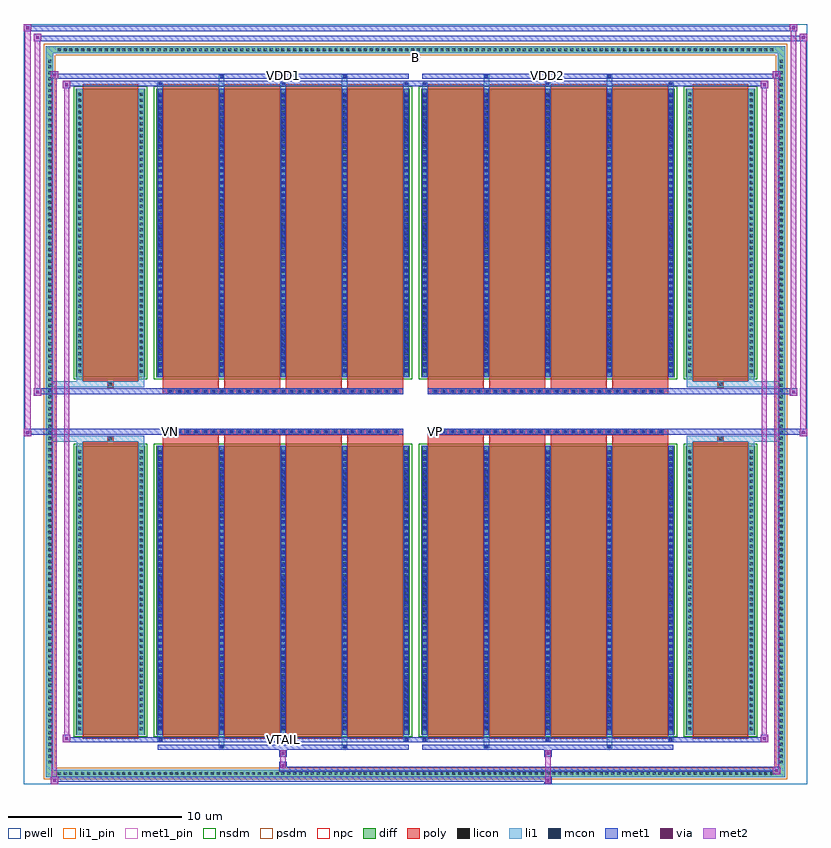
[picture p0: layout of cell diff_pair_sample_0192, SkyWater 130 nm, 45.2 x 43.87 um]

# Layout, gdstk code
import gdstk
lib = gdstk.Library(unit=1e-6, precision=5e-09)
def R(c, l, rs):  # rectangles x0, y0, x1, y1
    for r in rs: c.add(gdstk.rectangle(r[:2], r[2:], *l))
def A(c, l, x, y, w, h, nx, ny, dx, dy):  # array of equal rectangles
    R(c, l, [(x+i*dx, y+j*dy, x+i*dx+w, y+j*dy+h) for i in range(nx) for j in range(ny)])
def P(c, l, *ps):  # polygons
    for p in ps: c.add(gdstk.Polygon(p, *l))
pwell = (64, 44)
diff = (65, 20)
poly = (66, 20)
licon = (66, 44)
li1_pin = (67, 16)
li1 = (67, 20)
mcon = (67, 44)
met1_pin = (68, 16)
met1 = (68, 20)
via = (68, 44)
met2 = (69, 20)
nsdm = (93, 44)
psdm = (94, 20)
npc = (95, 20)

diff_pair_sample_0192 = lib.new_cell('diff_pair_sample_0192')
R(diff_pair_sample_0192, pwell, [(-22.6,-21.5,22.6,22.37), (-19.92,-19.69,-0.01,-0.805), (0.01,-19.69,19.92,-0.805), (-19.92,0.805,-0.01,19.69), (0.01,0.805,19.92,19.69)])
A(diff_pair_sample_0192, diff, -20.775, -21.1, 0.41, 0.41, 122, 2, 0.34, 41.79)
A(diff_pair_sample_0192, diff, -21.33, -20.435, 0.41, 0.41, 1, 120, 0, 0.34)
A(diff_pair_sample_0192, diff, 20.92, -20.435, 0.41, 0.41, 1, 120, 0, 0.34)
R(diff_pair_sample_0192, diff, [(-20.775,-21.1,20.775,-20.69), (-21.33,-20.435,-20.92,20.435), (20.92,-20.435,21.33,20.435), (-19.61,-18.645,-15.61,-1.985), (-14.97,-18.645,-0.32,-1.985), (0.32,-18.645,14.97,-1.985), (15.61,-18.645,19.61,-1.985), (-19.61,1.985,-15.61,18.645), (-14.97,1.985,-0.32,18.645), (0.32,1.985,14.97,18.645), (15.61,1.985,19.61,18.645), (-20.775,20.69,20.775,21.1)])
P(diff_pair_sample_0192, diff, [(21.33,21.1),(-21.33,21.1),(-21.33,-20.69),(-20.92,-20.69),(-20.92,20.69),(20.92,20.69),(20.92,-20.69),(-20.92,-20.69),(-21.33,-20.69),(-21.33,-21.1),(21.33,-21.1)])
A(diff_pair_sample_0192, poly, -14.58, -18.895, 3.22, 17.16, 4, 2, 3.55, 20.63)
A(diff_pair_sample_0192, poly, 0.71, -18.895, 3.22, 17.16, 4, 2, 3.55, 20.63)
A(diff_pair_sample_0192, poly, -14.58, -1.735, 3.22, 0.4, 4, 2, 3.55, 3.07)
A(diff_pair_sample_0192, poly, 0.71, -1.735, 3.22, 0.4, 4, 2, 3.55, 3.07)
A(diff_pair_sample_0192, poly, -14.31, -1.335, 0.33, 0.33, 27, 2, 0.5, 2.34)
A(diff_pair_sample_0192, poly, 0.98, -1.335, 0.33, 0.33, 27, 2, 0.5, 2.34)
R(diff_pair_sample_0192, poly, [(-19.22,-18.895,-16,-1.735), (16,-18.895,19.22,-1.735), (-17.775,-1.735,-17.445,-1.405), (-17.775,-1.735,-17.445,-1.405), (17.445,-1.735,17.775,-1.405), (17.445,-1.735,17.775,-1.405), (-14.58,-1.335,-0.71,-1.005), (0.71,-1.335,14.58,-1.005), (-14.58,1.005,-0.71,1.335), (0.71,1.005,14.58,1.335), (-17.775,1.405,-17.445,1.735), (-17.775,1.405,-17.445,1.735), (17.445,1.405,17.775,1.735), (17.445,1.405,17.775,1.735), (-19.22,1.735,-16,18.895), (16,1.735,19.22,18.895)])
A(diff_pair_sample_0192, licon, -20.655, -20.98, 0.17, 0.17, 122, 2, 0.34, 41.79)
A(diff_pair_sample_0192, licon, -21.21, -20.315, 0.17, 0.17, 1, 120, 0, 0.34)
A(diff_pair_sample_0192, licon, 21.04, -20.315, 0.17, 0.17, 1, 120, 0, 0.34)
A(diff_pair_sample_0192, licon, -19.47, -18.39, 0.17, 0.17, 1, 48, 0, 0.34)
A(diff_pair_sample_0192, licon, -15.92, -18.39, 0.17, 0.17, 1, 48, 0, 0.34)
A(diff_pair_sample_0192, licon, -14.83, -18.39, 0.17, 0.17, 5, 48, 3.55, 0.34)
A(diff_pair_sample_0192, licon, 0.46, -18.39, 0.17, 0.17, 5, 48, 3.55, 0.34)
A(diff_pair_sample_0192, licon, 15.75, -18.39, 0.17, 0.17, 1, 48, 0, 0.34)
A(diff_pair_sample_0192, licon, 19.3, -18.39, 0.17, 0.17, 1, 48, 0, 0.34)
A(diff_pair_sample_0192, licon, -14.23, -1.255, 0.17, 0.17, 27, 2, 0.5, 2.34)
A(diff_pair_sample_0192, licon, 1.06, -1.255, 0.17, 0.17, 27, 2, 0.5, 2.34)
A(diff_pair_sample_0192, licon, -19.47, 2.24, 0.17, 0.17, 1, 48, 0, 0.34)
A(diff_pair_sample_0192, licon, -15.92, 2.24, 0.17, 0.17, 1, 48, 0, 0.34)
A(diff_pair_sample_0192, licon, -14.83, 2.24, 0.17, 0.17, 5, 48, 3.55, 0.34)
A(diff_pair_sample_0192, licon, 0.46, 2.24, 0.17, 0.17, 5, 48, 3.55, 0.34)
A(diff_pair_sample_0192, licon, 15.75, 2.24, 0.17, 0.17, 1, 48, 0, 0.34)
A(diff_pair_sample_0192, licon, 19.3, 2.24, 0.17, 0.17, 1, 48, 0, 0.34)
R(diff_pair_sample_0192, licon, [(-17.695,-1.655,-17.525,-1.485), (17.525,-1.655,17.695,-1.485), (-17.695,1.485,-17.525,1.655), (17.525,1.485,17.695,1.655)])
R(diff_pair_sample_0192, li1_pin, [(-0.25,20.19,0.25,20.69)])
A(diff_pair_sample_0192, li1, -20.735, -21.06, 0.33, 0.33, 122, 2, 0.34, 41.79)
A(diff_pair_sample_0192, li1, -21.29, -20.395, 0.33, 0.33, 1, 120, 0, 0.34)
A(diff_pair_sample_0192, li1, 20.96, -20.395, 0.33, 0.33, 1, 120, 0, 0.34)
A(diff_pair_sample_0192, li1, -14.91, -19.02, 0.33, 0.375, 3, 2, 7.1, 37.665)
A(diff_pair_sample_0192, li1, -14.83, -19.02, 0.17, 0.17, 3, 2, 7.1, 37.87)
A(diff_pair_sample_0192, li1, 0.38, -19.02, 0.33, 0.375, 3, 2, 7.1, 37.665)
A(diff_pair_sample_0192, li1, 0.46, -19.02, 0.17, 0.17, 3, 2, 7.1, 37.87)
A(diff_pair_sample_0192, li1, -14.91, -18.645, 0.33, 16.66, 5, 2, 3.55, 20.63)
A(diff_pair_sample_0192, li1, 0.38, -18.645, 0.33, 16.66, 5, 2, 3.55, 20.63)
A(diff_pair_sample_0192, li1, -19.55, -18.47, 0.33, 0.33, 1, 48, 0, 0.34)
A(diff_pair_sample_0192, li1, -16, -18.47, 0.33, 0.33, 1, 48, 0, 0.34)
A(diff_pair_sample_0192, li1, -14.91, -18.47, 0.33, 0.33, 5, 48, 3.55, 0.34)
A(diff_pair_sample_0192, li1, 0.38, -18.47, 0.33, 0.33, 5, 48, 3.55, 0.34)
A(diff_pair_sample_0192, li1, 15.67, -18.47, 0.33, 0.33, 1, 48, 0, 0.34)
A(diff_pair_sample_0192, li1, 19.22, -18.47, 0.33, 0.33, 1, 48, 0, 0.34)
A(diff_pair_sample_0192, li1, -14.83, -18.32, 0.17, 0.17, 5, 45, 3.55, 0.36)
A(diff_pair_sample_0192, li1, -14.83, -18.32, 0.17, 16.01, 5, 2, 3.55, 20.63)
A(diff_pair_sample_0192, li1, 0.46, -18.32, 0.17, 0.17, 5, 45, 3.55, 0.36)
A(diff_pair_sample_0192, li1, 0.46, -18.32, 0.17, 16.01, 5, 2, 3.55, 20.63)
A(diff_pair_sample_0192, li1, -14.31, -1.335, 0.33, 0.33, 27, 2, 0.5, 2.34)
A(diff_pair_sample_0192, li1, 0.98, -1.335, 0.33, 0.33, 27, 2, 0.5, 2.34)
A(diff_pair_sample_0192, li1, -19.55, 2.16, 0.33, 0.33, 1, 48, 0, 0.34)
A(diff_pair_sample_0192, li1, -16, 2.16, 0.33, 0.33, 1, 48, 0, 0.34)
A(diff_pair_sample_0192, li1, -14.91, 2.16, 0.33, 0.33, 5, 48, 3.55, 0.34)
A(diff_pair_sample_0192, li1, 0.38, 2.16, 0.33, 0.33, 5, 48, 3.55, 0.34)
A(diff_pair_sample_0192, li1, 15.67, 2.16, 0.33, 0.33, 1, 48, 0, 0.34)
A(diff_pair_sample_0192, li1, 19.22, 2.16, 0.33, 0.33, 1, 48, 0, 0.34)
A(diff_pair_sample_0192, li1, -14.83, 2.31, 0.17, 0.17, 5, 45, 3.55, 0.36)
A(diff_pair_sample_0192, li1, 0.46, 2.31, 0.17, 0.17, 5, 45, 3.55, 0.36)
R(diff_pair_sample_0192, li1, [(-21.33,-21.1,-20.92,-20.69), (-21.33,-21.1,-20.92,-20.69), (-20.92,-21.1,20.92,-20.69), (20.92,-21.1,21.33,-20.69), (20.92,-21.1,21.33,-20.69), (-21.33,-20.69,-20.92,20.69), (20.92,-20.69,21.33,20.69), (-11.36,-19.45,-11.03,-18.645), (-11.28,-19.45,-11.11,-19.28), (-4.26,-19.45,-3.93,-18.645), (-4.18,-19.45,-4.01,-19.28), (3.93,-19.45,4.26,-18.645), (4.01,-19.45,4.18,-19.28), (11.03,-19.45,11.36,-18.645), (11.11,-19.45,11.28,-19.28), (-19.55,-18.645,-19.22,-1.985), (-16,-18.645,-15.67,-1.985), (15.67,-18.645,16,-1.985), (19.22,-18.645,19.55,-1.985), (-19.55,-1.985,-19.22,-1.405), (-16,-1.985,-15.67,-1.405), (15.67,-1.985,16,-1.405), (19.22,-1.985,19.55,-1.405), (-21.33,-1.735,-17.775,-1.405), (-19.55,-1.735,-17.775,-1.405), (-17.775,-1.735,-17.445,-1.405), (-17.445,-1.735,-15.67,-1.405), (15.67,-1.735,17.445,-1.405), (17.445,-1.735,17.775,-1.405), (17.445,-1.735,21.33,-1.405), (17.775,-1.735,19.55,-1.405), (-21.33,1.405,-17.775,1.735), (-19.55,1.405,-17.775,1.735), (-19.55,1.405,-19.22,1.985), (-17.775,1.405,-17.445,1.735), (-17.445,1.405,-15.67,1.735), (-16,1.405,-15.67,1.985), (15.67,1.405,17.445,1.735), (15.67,1.405,16,1.985), (17.445,1.405,17.775,1.735), (17.445,1.405,21.33,1.735), (17.775,1.405,19.55,1.735), (19.22,1.405,19.55,1.985), (-19.55,1.985,-19.22,18.645), (-16,1.985,-15.67,18.645), (15.67,1.985,16,18.645), (19.22,1.985,19.55,18.645), (-11.36,18.645,-11.03,19.45), (-4.26,18.645,-3.93,19.45), (3.93,18.645,4.26,19.45), (11.03,18.645,11.36,19.45), (-11.28,19.28,-11.11,19.45), (-4.18,19.28,-4.01,19.45), (4.01,19.28,4.18,19.45), (11.11,19.28,11.28,19.45), (-21.33,20.69,-20.92,21.1), (-21.33,20.69,-20.92,21.1), (-20.92,20.69,20.92,21.1), (20.92,20.69,21.33,21.1), (20.92,20.69,21.33,21.1)])
A(diff_pair_sample_0192, mcon, -14.83, -19.02, 0.17, 0.17, 3, 2, 7.1, 37.87)
A(diff_pair_sample_0192, mcon, 0.46, -19.02, 0.17, 0.17, 3, 2, 7.1, 37.87)
A(diff_pair_sample_0192, mcon, -14.83, -18.32, 0.17, 0.17, 5, 45, 3.55, 0.36)
A(diff_pair_sample_0192, mcon, 0.46, -18.32, 0.17, 0.17, 5, 45, 3.55, 0.36)
A(diff_pair_sample_0192, mcon, -14.23, -1.255, 0.17, 0.17, 27, 2, 0.5, 2.34)
A(diff_pair_sample_0192, mcon, 1.06, -1.255, 0.17, 0.17, 27, 2, 0.5, 2.34)
A(diff_pair_sample_0192, mcon, -14.83, 2.31, 0.17, 0.17, 5, 45, 3.55, 0.36)
A(diff_pair_sample_0192, mcon, 0.46, 2.31, 0.17, 0.17, 5, 45, 3.55, 0.36)
R(diff_pair_sample_0192, mcon, [(-11.28,-19.45,-11.11,-19.28), (-4.18,-19.45,-4.01,-19.28), (4.01,-19.45,4.18,-19.28), (11.11,-19.45,11.28,-19.28), (-11.28,19.28,-11.11,19.45), (-4.18,19.28,-4.01,19.45), (4.01,19.28,4.18,19.45), (11.11,19.28,11.28,19.45)])
R(diff_pair_sample_0192, met1_pin, [(-7.78,-19.06,-7.51,-18.79), (-14.28,-1.295,-14.01,-1.025), (1.01,-1.295,1.28,-1.025), (-7.78,19.24,-7.51,19.51), (7.51,19.24,7.78,19.51)])
A(diff_pair_sample_0192, met1, -14.89, -19.08, 0.29, 0.29, 3, 2, 7.1, 37.87)
A(diff_pair_sample_0192, met1, 0.4, -19.08, 0.29, 0.29, 3, 2, 7.1, 37.87)
A(diff_pair_sample_0192, met1, -14.89, -18.645, 0.29, 16.66, 5, 2, 3.55, 20.63)
A(diff_pair_sample_0192, met1, 0.4, -18.645, 0.29, 16.66, 5, 2, 3.55, 20.63)
A(diff_pair_sample_0192, met1, -14.89, -18.38, 0.29, 0.29, 5, 45, 3.55, 0.36)
A(diff_pair_sample_0192, met1, 0.4, -18.38, 0.29, 0.29, 5, 45, 3.55, 0.36)
A(diff_pair_sample_0192, met1, -14.29, -1.315, 0.29, 0.29, 27, 2, 0.5, 2.34)
A(diff_pair_sample_0192, met1, 1, -1.315, 0.29, 0.29, 27, 2, 0.5, 2.34)
A(diff_pair_sample_0192, met1, -14.89, 2.25, 0.29, 0.29, 5, 45, 3.55, 0.36)
A(diff_pair_sample_0192, met1, 0.4, 2.25, 0.29, 0.29, 5, 45, 3.55, 0.36)
R(diff_pair_sample_0192, met1, [(-21.06,-21.5,-20.63,-21.07), (7.43,-21.5,7.86,-21.07), (-21.06,-21.36,7.86,-21.07), (20.63,-20.93,21.06,-20.5), (-7.86,-20.79,21.06,-20.5), (-7.86,-20.65,-7.43,-20.22), (-7.86,-19.94,-7.43,-19.51), (7.43,-19.94,7.86,-19.51), (-14.89,-19.51,-0.4,-19.22), (-11.34,-19.51,-11.05,-19.22), (-4.24,-19.51,-3.95,-19.22), (0.4,-19.51,14.89,-19.22), (3.95,-19.51,4.24,-19.22), (11.05,-19.51,11.34,-19.22), (-20.35,-19.08,-19.92,-18.65), (-20.35,-19.08,-14.89,-18.79), (-14.89,-19.08,-0.4,-18.79), (-0.4,-19.08,0.4,-18.79), (0.4,-19.08,14.89,-18.79), (14.89,-19.08,20.35,-18.79), (19.92,-19.08,20.35,-18.65), (-22.6,-1.435,-22.17,-1.005), (22.17,-1.435,22.6,-1.005), (-22.6,-1.335,-0.71,-1.005), (-14.58,-1.335,-0.71,-1.005), (0.71,-1.335,14.58,-1.005), (0.71,-1.335,22.6,-1.005), (-22.03,0.905,-21.6,1.335), (21.6,0.905,22.03,1.335), (-22.03,1.005,-14.58,1.335), (-14.58,1.005,-0.71,1.335), (0.71,1.005,14.58,1.335), (14.58,1.005,22.03,1.335), (-20.35,18.65,-19.92,19.08), (19.92,18.65,20.35,19.08), (-20.35,18.79,-14.89,19.08), (-14.89,18.79,-0.4,19.08), (-0.4,18.79,0.4,19.08), (0.4,18.79,14.89,19.08), (14.89,18.79,20.35,19.08), (-21.06,19.22,-20.63,19.65), (-21.06,19.22,-14.89,19.51), (-14.89,19.22,-0.4,19.51), (-11.34,19.22,-11.05,19.51), (-4.24,19.22,-3.95,19.51), (0.4,19.22,14.89,19.51), (3.95,19.22,4.24,19.51), (11.05,19.22,11.34,19.51), (14.89,19.22,21.06,19.51), (20.63,19.22,21.06,19.65), (-22.03,21.37,-21.6,21.8), (-22.03,21.37,-19.92,21.7), (-19.92,21.37,19.92,21.7), (19.92,21.37,22.6,21.7), (22.17,21.37,22.6,21.8), (-22.6,21.94,-22.17,22.37), (-22.6,21.94,-19.92,22.27), (-19.92,21.94,19.92,22.27), (19.92,21.94,22.03,22.27), (21.6,21.94,22.03,22.37)])
R(diff_pair_sample_0192, via, [(-20.92,-21.36,-20.77,-21.21), (7.57,-21.36,7.72,-21.21), (20.77,-20.79,20.92,-20.64), (-7.72,-20.51,-7.57,-20.36), (-7.72,-19.8,-7.57,-19.65), (7.57,-19.8,7.72,-19.65), (-20.21,-18.94,-20.06,-18.79), (20.06,-18.94,20.21,-18.79), (-22.46,-1.295,-22.31,-1.145), (22.31,-1.295,22.46,-1.145), (-21.89,1.045,-21.74,1.195), (21.74,1.045,21.89,1.195), (-20.21,18.79,-20.06,18.94), (20.06,18.79,20.21,18.94), (-20.92,19.36,-20.77,19.51), (20.77,19.36,20.92,19.51), (-21.89,21.51,-21.74,21.66), (22.31,21.51,22.46,21.66), (-22.46,22.08,-22.31,22.23), (21.74,22.08,21.89,22.23)])
R(diff_pair_sample_0192, met2, [(-21.06,-21.5,-20.63,-21.07), (-20.99,-21.5,-20.7,19.65), (-20.7,-21.5,-20.63,-21.07), (-21.01,-21.45,-20.68,-21.12), (7.48,-21.45,7.81,-21.12), (7.48,-21.12,7.81,-19.89), (20.63,-20.93,21.06,-20.5), (20.7,-20.93,20.99,19.65), (20.99,-20.93,21.06,-20.5), (20.68,-20.88,21.01,-20.55), (-7.81,-20.6,-7.48,-20.27), (-7.81,-20.27,-7.48,-19.89), (-7.81,-19.89,-7.48,-19.56), (7.48,-19.89,7.81,-19.56), (-20.35,-19.08,-19.92,-18.65), (-20.28,-19.08,-19.99,19.08), (-19.99,-19.08,-19.92,-18.65), (19.92,-19.08,20.35,-18.65), (19.99,-19.08,20.28,19.08), (20.28,-19.08,20.35,-18.65), (-20.3,-19.03,-19.97,-18.7), (19.97,-19.03,20.3,-18.7), (-22.6,-1.435,-22.17,-1.005), (-22.55,-1.435,-22.22,22.37), (-22.22,-1.435,-22.17,-1.005), (22.17,-1.435,22.6,-1.005), (22.22,-1.435,22.55,21.8), (22.55,-1.435,22.6,-1.005), (-22.55,-1.385,-22.22,-1.055), (22.22,-1.385,22.55,-1.055), (-22.03,0.905,-21.6,1.335), (-21.98,0.905,-21.65,21.8), (-21.65,0.905,-21.6,1.335), (21.6,0.905,22.03,1.335), (21.65,0.905,21.98,22.37), (21.98,0.905,22.03,1.335), (-21.98,0.955,-21.65,1.285), (21.65,0.955,21.98,1.285), (-20.35,18.65,-19.92,19.08), (-19.99,18.65,-19.92,19.08), (19.92,18.65,20.35,19.08), (20.28,18.65,20.35,19.08), (-20.3,18.7,-19.97,19.03), (19.97,18.7,20.3,19.03), (-21.06,19.22,-20.63,19.65), (-20.7,19.22,-20.63,19.65), (20.63,19.22,21.06,19.65), (20.99,19.22,21.06,19.65), (-21.01,19.27,-20.68,19.6), (20.68,19.27,21.01,19.6), (-22.03,21.37,-21.6,21.8), (-21.65,21.37,-21.6,21.8), (22.17,21.37,22.6,21.8), (22.55,21.37,22.6,21.8), (-21.98,21.42,-21.65,21.75), (22.22,21.42,22.55,21.75), (-22.6,21.94,-22.17,22.37), (-22.22,21.94,-22.17,22.37), (21.6,21.94,22.03,22.37), (21.98,21.94,22.03,22.37), (-22.55,21.99,-22.22,22.32), (21.65,21.99,21.98,22.32)])
R(diff_pair_sample_0192, nsdm, [(-19.74,-18.775,-15.48,-1.855), (-15.1,-18.775,-0.19,-1.855), (0.19,-18.775,15.1,-1.855), (15.48,-18.775,19.74,-1.855), (-19.74,1.855,-15.48,18.775), (-15.1,1.855,-0.19,18.775), (0.19,1.855,15.1,18.775), (15.48,1.855,19.74,18.775)])
P(diff_pair_sample_0192, psdm, [(21.46,21.23),(-21.46,21.23),(-21.46,-20.56),(-20.79,-20.56),(-20.79,20.56),(20.79,20.56),(20.79,-20.56),(-20.79,-20.56),(-21.46,-20.56),(-21.46,-21.23),(21.46,-21.23)])
A(diff_pair_sample_0192, npc, -14.33, -1.355, 0.37, 0.37, 27, 2, 0.5, 2.34)
A(diff_pair_sample_0192, npc, 0.96, -1.355, 0.37, 0.37, 27, 2, 0.5, 2.34)
R(diff_pair_sample_0192, npc, [(-17.795,-1.755,-17.425,-1.385), (17.425,-1.755,17.795,-1.385), (-14.33,-1.355,-13.46,-0.985), (-14.33,-1.355,-13.46,-0.985), (-13.83,-1.355,-12.96,-0.985), (-13.83,-1.355,-12.96,-0.985), (-13.33,-1.355,-12.46,-0.985), (-13.33,-1.355,-12.46,-0.985), (-12.83,-1.355,-11.96,-0.985), (-12.83,-1.355,-11.96,-0.985), (-12.33,-1.355,-11.46,-0.985), (-12.33,-1.355,-11.46,-0.985), (-11.83,-1.355,-10.96,-0.985), (-11.83,-1.355,-10.96,-0.985), (-11.33,-1.355,-10.46,-0.985), (-11.33,-1.355,-10.46,-0.985), (-10.83,-1.355,-9.96,-0.985), (-10.83,-1.355,-9.96,-0.985), (-10.33,-1.355,-9.46,-0.985), (-10.33,-1.355,-9.46,-0.985), (-9.83,-1.355,-8.96,-0.985), (-9.83,-1.355,-8.96,-0.985), (-9.33,-1.355,-8.46,-0.985), (-9.33,-1.355,-8.46,-0.985), (-8.83,-1.355,-7.96,-0.985), (-8.83,-1.355,-7.96,-0.985), (-8.33,-1.355,-7.46,-0.985), (-8.33,-1.355,-7.46,-0.985), (-7.83,-1.355,-6.96,-0.985), (-7.83,-1.355,-6.96,-0.985), (-7.33,-1.355,-6.46,-0.985), (-7.33,-1.355,-6.46,-0.985), (-6.83,-1.355,-5.96,-0.985), (-6.83,-1.355,-5.96,-0.985), (-6.33,-1.355,-5.46,-0.985), (-6.33,-1.355,-5.46,-0.985), (-5.83,-1.355,-4.96,-0.985), (-5.83,-1.355,-4.96,-0.985), (-5.33,-1.355,-4.46,-0.985), (-5.33,-1.355,-4.46,-0.985), (-4.83,-1.355,-3.96,-0.985), (-4.83,-1.355,-3.96,-0.985), (-4.33,-1.355,-3.46,-0.985), (-4.33,-1.355,-3.46,-0.985), (-3.83,-1.355,-2.96,-0.985), (-3.83,-1.355,-2.96,-0.985), (-3.33,-1.355,-2.46,-0.985), (-3.33,-1.355,-2.46,-0.985), (-2.83,-1.355,-1.96,-0.985), (-2.83,-1.355,-1.96,-0.985), (-2.33,-1.355,-1.46,-0.985), (-2.33,-1.355,-1.46,-0.985), (-1.83,-1.355,-0.96,-0.985), (-1.83,-1.355,-0.96,-0.985), (0.96,-1.355,1.83,-0.985), (0.96,-1.355,1.83,-0.985), (1.46,-1.355,2.33,-0.985), (1.46,-1.355,2.33,-0.985), (1.96,-1.355,2.83,-0.985), (1.96,-1.355,2.83,-0.985), (2.46,-1.355,3.33,-0.985), (2.46,-1.355,3.33,-0.985), (2.96,-1.355,3.83,-0.985), (2.96,-1.355,3.83,-0.985), (3.46,-1.355,4.33,-0.985), (3.46,-1.355,4.33,-0.985), (3.96,-1.355,4.83,-0.985), (3.96,-1.355,4.83,-0.985), (4.46,-1.355,5.33,-0.985), (4.46,-1.355,5.33,-0.985), (4.96,-1.355,5.83,-0.985), (4.96,-1.355,5.83,-0.985), (5.46,-1.355,6.33,-0.985), (5.46,-1.355,6.33,-0.985), (5.96,-1.355,6.83,-0.985), (5.96,-1.355,6.83,-0.985), (6.46,-1.355,7.33,-0.985), (6.46,-1.355,7.33,-0.985), (6.96,-1.355,7.83,-0.985), (6.96,-1.355,7.83,-0.985), (7.46,-1.355,8.33,-0.985), (7.46,-1.355,8.33,-0.985), (7.96,-1.355,8.83,-0.985), (7.96,-1.355,8.83,-0.985), (8.46,-1.355,9.33,-0.985), (8.46,-1.355,9.33,-0.985), (8.96,-1.355,9.83,-0.985), (8.96,-1.355,9.83,-0.985), (9.46,-1.355,10.33,-0.985), (9.46,-1.355,10.33,-0.985), (9.96,-1.355,10.83,-0.985), (9.96,-1.355,10.83,-0.985), (10.46,-1.355,11.33,-0.985), (10.46,-1.355,11.33,-0.985), (10.96,-1.355,11.83,-0.985), (10.96,-1.355,11.83,-0.985), (11.46,-1.355,12.33,-0.985), (11.46,-1.355,12.33,-0.985), (11.96,-1.355,12.83,-0.985), (11.96,-1.355,12.83,-0.985), (12.46,-1.355,13.33,-0.985), (12.46,-1.355,13.33,-0.985), (12.96,-1.355,13.83,-0.985), (12.96,-1.355,13.83,-0.985), (13.46,-1.355,14.33,-0.985), (13.46,-1.355,14.33,-0.985), (-14.33,0.985,-13.46,1.355), (-14.33,0.985,-13.46,1.355), (-13.83,0.985,-12.96,1.355), (-13.83,0.985,-12.96,1.355), (-13.33,0.985,-12.46,1.355), (-13.33,0.985,-12.46,1.355), (-12.83,0.985,-11.96,1.355), (-12.83,0.985,-11.96,1.355), (-12.33,0.985,-11.46,1.355), (-12.33,0.985,-11.46,1.355), (-11.83,0.985,-10.96,1.355), (-11.83,0.985,-10.96,1.355), (-11.33,0.985,-10.46,1.355), (-11.33,0.985,-10.46,1.355), (-10.83,0.985,-9.96,1.355), (-10.83,0.985,-9.96,1.355), (-10.33,0.985,-9.46,1.355), (-10.33,0.985,-9.46,1.355), (-9.83,0.985,-8.96,1.355), (-9.83,0.985,-8.96,1.355), (-9.33,0.985,-8.46,1.355), (-9.33,0.985,-8.46,1.355), (-8.83,0.985,-7.96,1.355), (-8.83,0.985,-7.96,1.355), (-8.33,0.985,-7.46,1.355), (-8.33,0.985,-7.46,1.355), (-7.83,0.985,-6.96,1.355), (-7.83,0.985,-6.96,1.355), (-7.33,0.985,-6.46,1.355), (-7.33,0.985,-6.46,1.355), (-6.83,0.985,-5.96,1.355), (-6.83,0.985,-5.96,1.355), (-6.33,0.985,-5.46,1.355), (-6.33,0.985,-5.46,1.355), (-5.83,0.985,-4.96,1.355), (-5.83,0.985,-4.96,1.355), (-5.33,0.985,-4.46,1.355), (-5.33,0.985,-4.46,1.355), (-4.83,0.985,-3.96,1.355), (-4.83,0.985,-3.96,1.355), (-4.33,0.985,-3.46,1.355), (-4.33,0.985,-3.46,1.355), (-3.83,0.985,-2.96,1.355), (-3.83,0.985,-2.96,1.355), (-3.33,0.985,-2.46,1.355), (-3.33,0.985,-2.46,1.355), (-2.83,0.985,-1.96,1.355), (-2.83,0.985,-1.96,1.355), (-2.33,0.985,-1.46,1.355), (-2.33,0.985,-1.46,1.355), (-1.83,0.985,-0.96,1.355), (-1.83,0.985,-0.96,1.355), (0.96,0.985,1.83,1.355), (0.96,0.985,1.83,1.355), (1.46,0.985,2.33,1.355), (1.46,0.985,2.33,1.355), (1.96,0.985,2.83,1.355), (1.96,0.985,2.83,1.355), (2.46,0.985,3.33,1.355), (2.46,0.985,3.33,1.355), (2.96,0.985,3.83,1.355), (2.96,0.985,3.83,1.355), (3.46,0.985,4.33,1.355), (3.46,0.985,4.33,1.355), (3.96,0.985,4.83,1.355), (3.96,0.985,4.83,1.355), (4.46,0.985,5.33,1.355), (4.46,0.985,5.33,1.355), (4.96,0.985,5.83,1.355), (4.96,0.985,5.83,1.355), (5.46,0.985,6.33,1.355), (5.46,0.985,6.33,1.355), (5.96,0.985,6.83,1.355), (5.96,0.985,6.83,1.355), (6.46,0.985,7.33,1.355), (6.46,0.985,7.33,1.355), (6.96,0.985,7.83,1.355), (6.96,0.985,7.83,1.355), (7.46,0.985,8.33,1.355), (7.46,0.985,8.33,1.355), (7.96,0.985,8.83,1.355), (7.96,0.985,8.83,1.355), (8.46,0.985,9.33,1.355), (8.46,0.985,9.33,1.355), (8.96,0.985,9.83,1.355), (8.96,0.985,9.83,1.355), (9.46,0.985,10.33,1.355), (9.46,0.985,10.33,1.355), (9.96,0.985,10.83,1.355), (9.96,0.985,10.83,1.355), (10.46,0.985,11.33,1.355), (10.46,0.985,11.33,1.355), (10.96,0.985,11.83,1.355), (10.96,0.985,11.83,1.355), (11.46,0.985,12.33,1.355), (11.46,0.985,12.33,1.355), (11.96,0.985,12.83,1.355), (11.96,0.985,12.83,1.355), (12.46,0.985,13.33,1.355), (12.46,0.985,13.33,1.355), (12.96,0.985,13.83,1.355), (12.96,0.985,13.83,1.355), (13.46,0.985,14.33,1.355), (13.46,0.985,14.33,1.355), (-17.795,1.385,-17.425,1.755), (17.425,1.385,17.795,1.755)])
diff_pair_sample_0192.add(gdstk.Label('VTAIL', (-7.645,-18.925), layer=68, texttype=5))
diff_pair_sample_0192.add(gdstk.Label('VN', (-14.145,-1.16), layer=68, texttype=5))
diff_pair_sample_0192.add(gdstk.Label('VP', (1.145,-1.16), layer=68, texttype=5))
diff_pair_sample_0192.add(gdstk.Label('B', (0,20.44), layer=67, texttype=5))
diff_pair_sample_0192.add(gdstk.Label('VDD2', (7.645,19.375), layer=68, texttype=5))
diff_pair_sample_0192.add(gdstk.Label('VDD1', (-7.645,19.375), layer=68, texttype=5))

lib.write_gds('diff_pair_sample_0192.gds')
